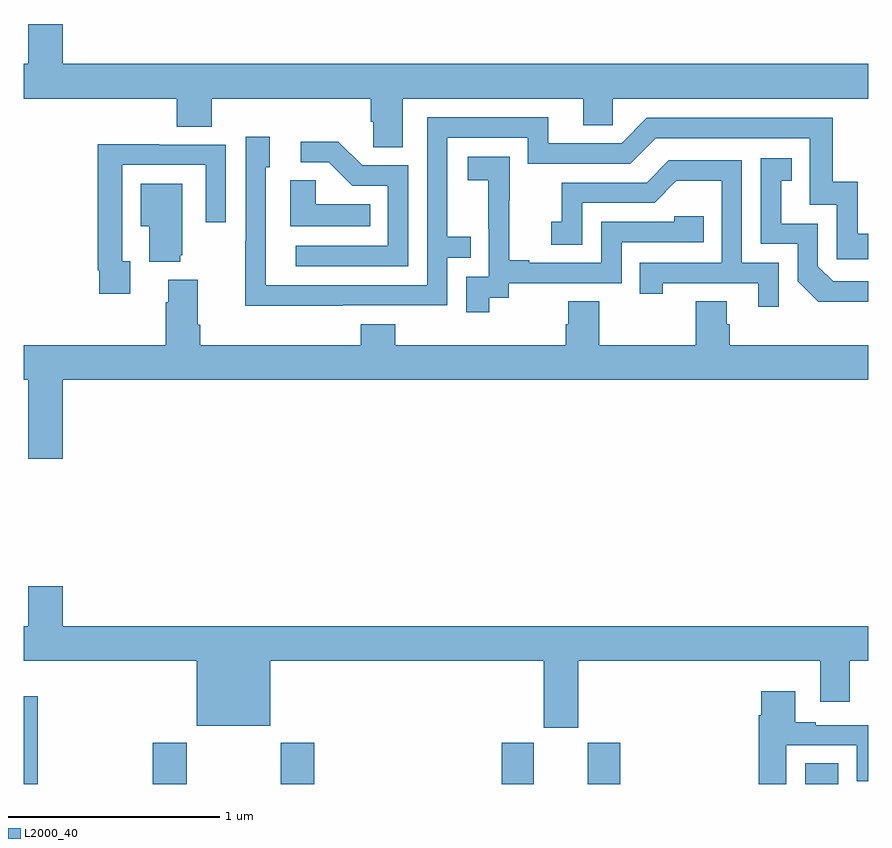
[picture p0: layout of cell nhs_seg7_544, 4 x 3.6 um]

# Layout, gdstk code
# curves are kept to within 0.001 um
import gdstk
lib = gdstk.Library(unit=1e-6, precision=1e-09)
def R(c, l, rs):  # rectangles x0, y0, x1, y1
    for r in rs: c.add(gdstk.rectangle(r[:2], r[2:], *l))
def P(c, l, *ps):  # polygons
    for p in ps: c.add(gdstk.Polygon(p, *l))
L2000_40 = (2000, 40)

nhs_seg7_544 = lib.new_cell('nhs_seg7_544')
R(nhs_seg7_544, L2000_40, [(153,1032,153.065,1032.415), (153.611,1032,153.771,1032.196), (154.216,1032,154.376,1032.196), (155.264,1032,155.416,1032.195), (155.672,1032,155.825,1032.195), (156.701,1032,156.859,1032.098)])
P(nhs_seg7_544, L2000_40, [(154.795,1035.248),(155.651,1035.248),(155.651,1035.121),(155.79,1035.121),(155.79,1035.248),(157,1035.248),(157,1035.412),(153.184,1035.412),(153.184,1035.601),(153.02,1035.601),(153.02,1035.412),(153,1035.412),(153,1035.248),(153.725,1035.248),(153.725,1035.115),(153.89,1035.115),(153.89,1035.248),(154.643,1035.248),(154.643,1035.139),(154.656,1035.139),(154.656,1035.016),(154.795,1035.016)],
  [(154.511,1034.268),(155.007,1034.268),(155.007,1034.493),(155.117,1034.493),(155.117,1034.594),(155.007,1034.594),(155.007,1035.063),(155.388,1035.063),(155.388,1034.94),(155.874,1034.94),(155.994,1035.06),(156.723,1035.06),(156.723,1034.745),(156.852,1034.745),(156.852,1034.487),(157,1034.487),(157,1034.607),(156.95,1034.607),(156.95,1034.853),(156.832,1034.853),(156.832,1035.156),(155.952,1035.156),(155.832,1035.036),(155.485,1035.036),(155.485,1035.159),(154.911,1035.159),(154.911,1034.364),(154.146,1034.364),(154.146,1034.922),(154.165,1034.922),(154.165,1035.067),(154.05,1035.067),(154.05,1034.573),(154.048,1034.573),(154.048,1034.267)],
  [(154.821,1034.931),(154.602,1034.931),(154.489,1035.044),(154.311,1035.044),(154.311,1034.946),(154.445,1034.946),(154.556,1034.835),(154.725,1034.835),(154.725,1034.55),(154.287,1034.55),(154.287,1034.454),(154.821,1034.454)],
  [(153.505,1034.478),(153.465,1034.478),(153.465,1034.934),(153.861,1034.934),(153.861,1034.661),(153.957,1034.661),(153.957,1035.03),(153.641,1035.03),(153.641,1035.032),(153.349,1035.032),(153.349,1034.434),(153.357,1034.434),(153.357,1034.322),(153.505,1034.322)],
  [(155.206,1034.305),(155.298,1034.305),(155.298,1034.373),(155.832,1034.373),(155.832,1034.568),(156.221,1034.568),(156.221,1034.691),(156.081,1034.691),(156.081,1034.664),(155.736,1034.664),(155.736,1034.469),(155.395,1034.469),(155.395,1034.482),(155.3,1034.482),(155.3,1034.765),(155.301,1034.765),(155.301,1034.971),(155.103,1034.971),(155.103,1034.861),(155.201,1034.861),(155.201,1034.632),(155.202,1034.632),(155.202,1034.403),(155.097,1034.403),(155.097,1034.235),(155.206,1034.235)],
  [(157,1034.382),(156.834,1034.382),(156.762,1034.454),(156.762,1034.655),(156.589,1034.655),(156.589,1034.859),(156.638,1034.859),(156.638,1034.965),(156.492,1034.965),(156.492,1034.559),(156.666,1034.559),(156.666,1034.382),(156.764,1034.285),(157,1034.285)],
  [(156.576,1034.469),(156.402,1034.469),(156.402,1034.955),(156.056,1034.955),(155.951,1034.85),(155.548,1034.85),(155.548,1034.665),(155.499,1034.665),(155.499,1034.555),(155.646,1034.555),(155.646,1034.754),(155.988,1034.754),(156.092,1034.858),(156.306,1034.858),(156.306,1034.469),(155.917,1034.469),(155.917,1034.322),(156.028,1034.322),(156.028,1034.373),(156.479,1034.373),(156.479,1034.262),(156.576,1034.262)],
  [(154.64,1034.746),(154.383,1034.746),(154.383,1034.861),(154.262,1034.861),(154.262,1034.642),(154.64,1034.642)],
  [(153.74,1034.505),(153.751,1034.505),(153.751,1034.845),(153.554,1034.845),(153.554,1034.642),(153.593,1034.642),(153.593,1034.474),(153.74,1034.474)],
  [(153.184,1033.916),(157,1033.916),(157,1034.08),(156.344,1034.08),(156.344,1034.178),(156.331,1034.178),(156.331,1034.288),(156.184,1034.288),(156.184,1034.08),(155.727,1034.08),(155.727,1034.288),(155.579,1034.288),(155.579,1034.178),(155.567,1034.178),(155.567,1034.08),(154.76,1034.08),(154.76,1034.179),(154.595,1034.179),(154.595,1034.08),(153.836,1034.08),(153.836,1034.176),(153.823,1034.176),(153.823,1034.389),(153.683,1034.389),(153.683,1034.282),(153.671,1034.282),(153.671,1034.08),(153,1034.08),(153,1033.916),(153.02,1033.916),(153.02,1033.542),(153.184,1033.542)],
  [(153.184,1032.937),(153.02,1032.937),(153.02,1032.748),(153,1032.748),(153,1032.584),(153.818,1032.584),(153.818,1032.275),(154.168,1032.275),(154.168,1032.584),(155.462,1032.584),(155.462,1032.267),(155.626,1032.267),(155.626,1032.584),(156.773,1032.584),(156.773,1032.39),(156.913,1032.39),(156.913,1032.584),(157,1032.584),(157,1032.748),(153.184,1032.748)],
  [(156.613,1032.183),(156.947,1032.183),(156.947,1032.012),(157,1032.012),(157,1032.279),(156.751,1032.279),(156.751,1032.292),(156.655,1032.292),(156.655,1032.439),(156.494,1032.439),(156.494,1032.326),(156.482,1032.326),(156.482,1032),(156.613,1032)])

lib.write_gds('nhs_seg7_544.gds')
